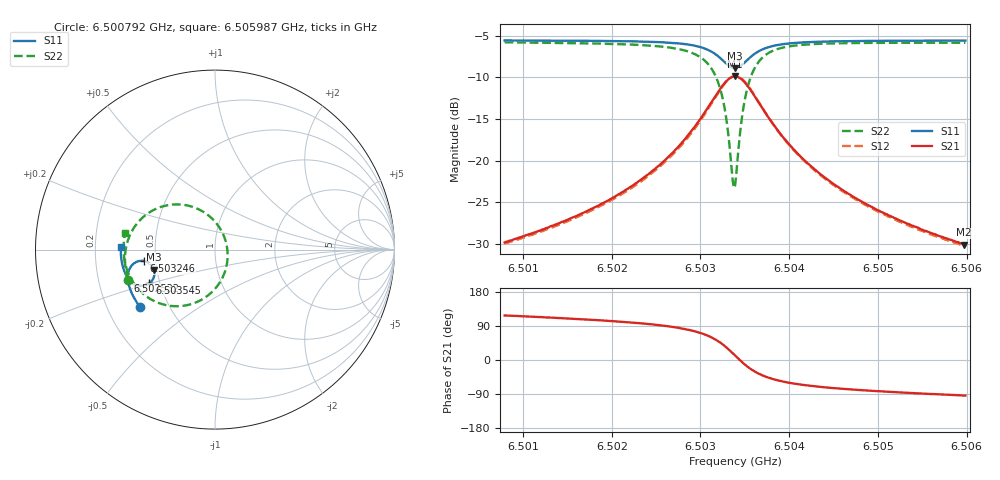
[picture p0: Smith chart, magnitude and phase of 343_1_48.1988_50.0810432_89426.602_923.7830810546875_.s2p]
#  HZ  S  RI  R  50.00
! Rohde & Schwarz Vector Network Analyzer
! Rohde-Schwarz,ZNB20-2Port,1311601062101988,3.16
! Created: UTC 3/20/2024, 11:51:22 AM
! freq[Hz]  re:S11  im:S11  re:S21  im:S21  re:S12  im:S12  re:S22  im:S22
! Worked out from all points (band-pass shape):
!   401 points, 6.500792 GHz to 6.505987 GHz, reference 50 ohm
!   highest |S21| = -9.88 dB at 6.503389 GHz (marker M1); lowest = -30.1 dB at 6.505974 GHz (marker M2)
!   |S21| within 3 dB of the highest: 6.503129 GHz to 6.503649 GHz (519.5 kHz wide, 0.00799 % of centre)
!   lowest |S11| = -8.9 dB at 6.503389 GHz (marker M3), VSWR 2.12, Z = 24.1 - j6.13 ohm
!   |S11| at or under -10 dB: nowhere
!   |S22| runs from -23.3 to -5.8 dB; largest |S21 - S12| = 0.011
!   S11 on the Smith chart (normalised r, x): 6.500792 GHz: 0.34, -0.30; 6.502532 GHz: 0.33, -0.15; 6.503246 GHz: 0.43, -0.06; 6.503545 GHz: 0.44, -0.20; 6.505987 GHz: 0.31, +0.01
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6.5007919e9  -0.4189 -0.3189  -0.0149 0.0287  -0.0134 0.0289  -0.485 -0.1684
6.501662e9  -0.4574 -0.2559  -0.0147 0.0459  -0.0122 0.0457  -0.5008 -0.0784
6.5021815e9  -0.4762 -0.2105  -0.0114 0.067  -0.0085 0.0659  -0.4986 -0.00588
6.5025322e9  -0.4848 -0.1725  -0.0033 0.0935  0.000241 0.0914  -0.4815 0.0627
6.5028309e9  -0.4834 -0.1293  0.0202 0.1345  0.0238 0.1304  -0.4326 0.148
6.5030257e9  -0.4667 -0.092  0.066 0.1748  0.069 0.1691  -0.3438 0.2199
6.5031556e9  -0.4353 -0.0676  0.1344 0.1973  0.1355 0.1911  -0.2198 0.2518
6.5032465e9  -0.3976 -0.0626  0.2094 0.1876  0.2097 0.1823  -0.0897 0.2238
6.5032984e9  -0.3725 -0.071  0.2568 0.1601  0.2576 0.1554  -0.0109 0.1676
6.5033634e9  -0.3466 -0.0968  0.3035 0.098  0.3059 0.0928  0.0594 0.0479
6.5033893e9  -0.3403 -0.1109  0.3136 0.0664  0.3165 0.0606  0.0698 -0.0105
6.5034023e9  -0.3386 -0.1184  0.3162 0.05  0.3193 0.0436  0.0706 -0.0406
6.5034803e9  -0.3444 -0.1622  0.2995 -0.0423  0.3014 -0.052  0.014 -0.2016
6.5035452e9  -0.365 -0.1872  0.258 -0.095  0.2568 -0.106  -0.0798 -0.2821
6.5036491e9  -0.4037 -0.2019  0.1855 -0.1305  0.1802 -0.1396  -0.2254 -0.3153
6.5038179e9  -0.4488 -0.192  0.1059 -0.1277  0.0991 -0.1328  -0.3686 -0.2702
6.5039998e9  -0.4756 -0.1708  0.0626 -0.1085  0.0566 -0.1107  -0.4389 -0.2067
6.5042595e9  -0.4962 -0.1407  0.0333 -0.085  0.0286 -0.0856  -0.4815 -0.1359
6.5046361e9  -0.5115 -0.102  0.015 -0.0632  0.0118 -0.0628  -0.5032 -0.0637
6.5051296e9  -0.5211 -0.0569  0.00495 -0.0465  0.00285 -0.046  -0.5095 0.00404
6.5059738e9  -0.5257 0.014  -0.00208 -0.0314  -0.00329 -0.0307  -0.5014 0.0915
6.5059868e9  -0.5258 0.0152  -0.00212 -0.0314  -0.00343 -0.0305  -0.5012 0.0928
